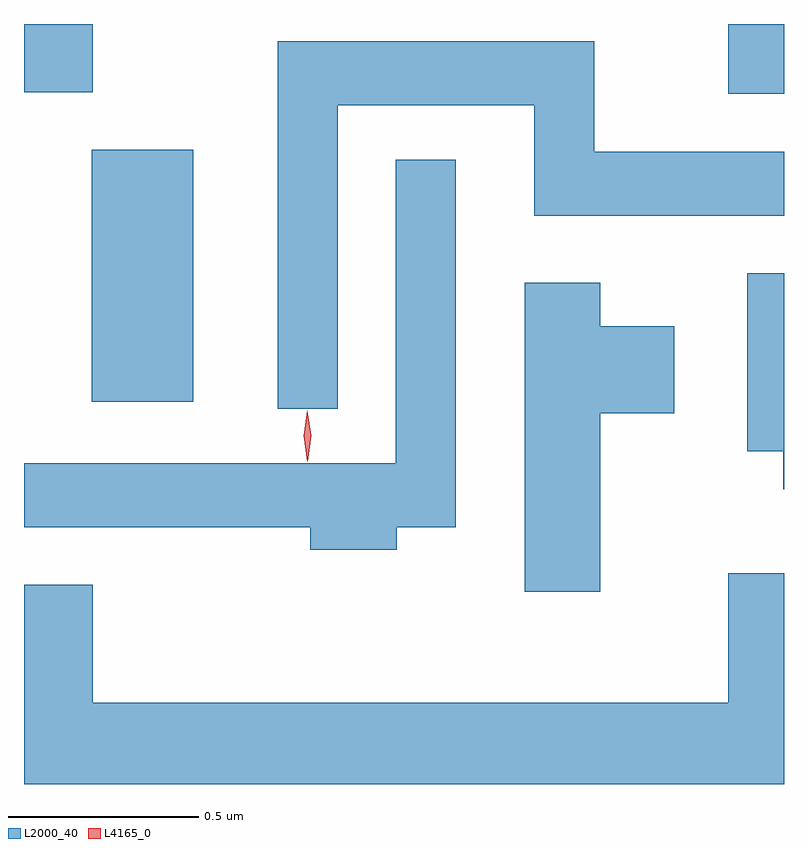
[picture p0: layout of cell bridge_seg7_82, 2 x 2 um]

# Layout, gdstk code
import gdstk
lib = gdstk.Library(unit=1e-6, precision=1e-09)
def R(c, l, rs):  # rectangles x0, y0, x1, y1
    for r in rs: c.add(gdstk.rectangle(r[:2], r[2:], *l))
def P(c, l, *ps):  # polygons
    for p in ps: c.add(gdstk.Polygon(p, *l))
L2000_40 = (2000, 40)
L4165_0 = (4165, 0)

bridge_seg7_82 = lib.new_cell('bridge_seg7_82')
R(bridge_seg7_82, L2000_40, [(1564.286,1784.196,1564.554,1784.859), (1565.961,1785.006,1566.108,1785.19), (1564.108,1785.011,1564.289,1785.19)])
P(bridge_seg7_82, L2000_40, [(1564.934,1784.976),(1565.451,1784.976),(1565.451,1784.686),(1566.108,1784.686),(1566.108,1784.854),(1565.609,1784.854),(1565.609,1785.144),(1564.776,1785.144),(1564.776,1784.178),(1564.934,1784.178)],
  [(1565.089,1783.866),(1565.244,1783.866),(1565.244,1784.833),(1565.086,1784.833),(1565.086,1784.034),(1564.108,1784.034),(1564.108,1783.866),(1564.861,1783.866),(1564.861,1783.806),(1565.089,1783.806)],
  [(1566.108,1784.534),(1566.011,1784.534),(1566.011,1784.066),(1566.106,1784.066),(1566.106,1783.966),(1566.108,1783.966)],
  [(1565.624,1784.166),(1565.819,1784.166),(1565.819,1784.394),(1565.624,1784.394),(1565.624,1784.509),(1565.426,1784.509),(1565.426,1783.696),(1565.624,1783.696)],
  [(1566.108,1783.744),(1565.961,1783.744),(1565.961,1783.404),(1564.289,1783.404),(1564.289,1783.714),(1564.108,1783.714),(1564.108,1783.19),(1566.108,1783.19)])
P(bridge_seg7_82, L4165_0, [(1564.854,1784.04),(1564.854,1784.04),(1564.844,1784.106),(1564.853,1784.172),(1564.854,1784.173),(1564.854,1784.172),(1564.864,1784.106),(1564.855,1784.04)])

lib.write_gds('bridge_seg7_82.gds')
